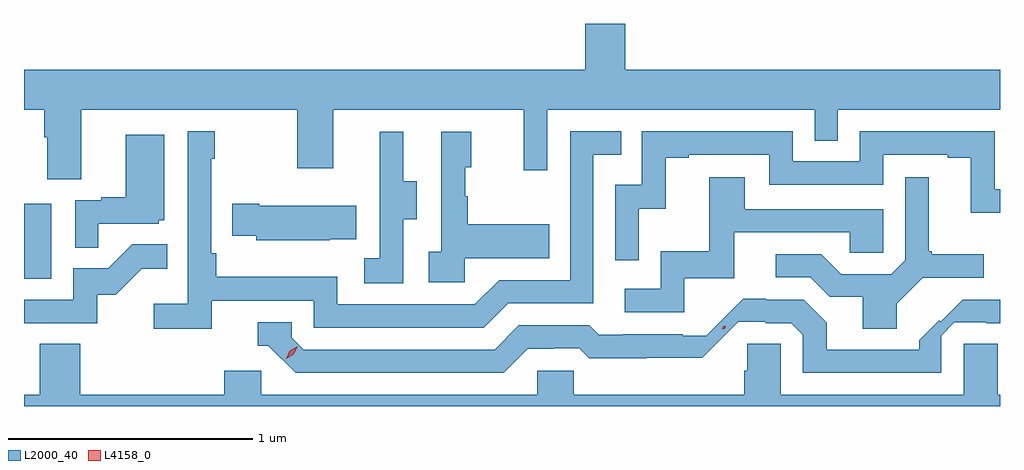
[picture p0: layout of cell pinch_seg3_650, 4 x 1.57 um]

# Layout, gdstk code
import gdstk
lib = gdstk.Library(unit=1e-6, precision=1e-09)
def R(c, l, rs):  # rectangles x0, y0, x1, y1
    for r in rs: c.add(gdstk.rectangle(r[:2], r[2:], *l))
def P(c, l, *ps):  # polygons
    for p in ps: c.add(gdstk.Polygon(p, *l))
L2000_40 = (2000, 40)
L4158_0 = (4158, 0)

pinch_seg3_650 = lib.new_cell('pinch_seg3_650')
R(pinch_seg3_650, L2000_40, [(1037.832,666.924,1037.944,667.231)])
P(pinch_seg3_650, L2000_40, [(1038.067,667.616),(1038.952,667.616),(1038.952,667.377),(1039.099,667.377),(1039.099,667.616),(1039.88,667.616),(1039.88,667.368),(1039.977,667.368),(1039.977,667.616),(1041.072,667.616),(1041.072,667.489),(1041.168,667.489),(1041.168,667.616),(1041.832,667.616),(1041.832,667.78),(1040.296,667.78),(1040.296,667.969),(1040.132,667.969),(1040.132,667.78),(1037.832,667.78),(1037.832,667.616),(1037.915,667.616),(1037.915,667.504),(1037.927,667.504),(1037.927,667.33),(1038.067,667.33)],
  [(1038.602,666.834),(1039.02,666.834),(1039.02,666.723),(1039.717,666.723),(1039.816,666.822),(1040.166,666.822),(1040.166,667.431),(1040.279,667.431),(1040.279,667.527),(1040.07,667.527),(1040.07,666.918),(1039.779,666.918),(1039.68,666.819),(1039.116,666.819),(1039.116,666.931),(1038.62,666.931),(1038.62,667.027),(1038.6,667.027),(1038.6,667.415),(1038.613,667.415),(1038.613,667.528),(1038.504,667.528),(1038.504,666.82),(1038.363,666.82),(1038.363,666.718),(1038.602,666.718)],
  [(1040.352,667.211),(1040.462,667.211),(1040.462,667.419),(1040.557,667.419),(1040.557,667.431),(1040.886,667.431),(1040.886,667.308),(1041.354,667.308),(1041.354,667.431),(1041.617,667.431),(1041.617,667.419),(1041.713,667.419),(1041.713,667.193),(1041.832,667.193),(1041.832,667.291),(1041.81,667.291),(1041.81,667.527),(1041.258,667.527),(1041.258,667.404),(1040.982,667.404),(1040.982,667.527),(1040.364,667.527),(1040.364,667.308),(1040.256,667.308),(1040.256,666.999),(1040.352,666.999)],
  [(1039.638,667.007),(1039.985,667.007),(1039.985,667.147),(1039.651,667.147),(1039.651,667.262),(1039.641,667.262),(1039.641,667.38),(1039.666,667.38),(1039.666,667.525),(1039.542,667.525),(1039.542,667.034),(1039.491,667.034),(1039.491,666.909),(1039.638,666.909)],
  [(1039.386,667.168),(1039.441,667.168),(1039.441,667.323),(1039.387,667.323),(1039.387,667.525),(1039.289,667.525),(1039.289,667.311),(1039.29,667.311),(1039.29,667.007),(1039.227,667.007),(1039.227,666.904),(1039.386,666.904)],
  [(1038.137,667.149),(1038.384,667.149),(1038.384,667.164),(1038.406,667.164),(1038.406,667.513),(1038.248,667.513),(1038.248,667.258),(1038.149,667.258),(1038.149,667.245),(1038.042,667.245),(1038.042,667.051),(1038.137,667.051)],
  [(1040.538,666.926),(1040.743,666.926),(1040.743,667.113),(1041.217,667.113),(1041.217,667.029),(1041.354,667.029),(1041.354,667.209),(1040.785,667.209),(1040.785,667.339),(1040.641,667.339),(1040.641,667.036),(1040.442,667.036),(1040.442,666.882),(1040.295,666.882),(1040.295,666.786),(1040.538,666.786)],
  [(1041.409,666.82),(1041.516,666.927),(1041.766,666.927),(1041.766,667.024),(1041.553,667.024),(1041.553,667.036),(1041.541,667.036),(1041.541,667.339),(1041.444,667.339),(1041.444,666.999),(1041.387,666.942),(1041.181,666.942),(1041.1,667.023),(1040.913,667.023),(1040.913,666.93),(1041.054,666.93),(1041.134,666.85),(1041.269,666.85),(1041.269,666.718),(1041.409,666.718)],
  [(1039.085,667.085),(1039.193,667.085),(1039.193,667.222),(1038.796,667.222),(1038.796,667.23),(1038.685,667.23),(1038.685,667.1),(1038.783,667.1),(1038.783,667.082),(1039.085,667.082)],
  [(1038.132,666.858),(1038.208,666.858),(1038.315,666.965),(1038.419,666.965),(1038.419,667.064),(1038.275,667.064),(1038.177,666.966),(1038.033,666.966),(1038.033,666.837),(1037.832,666.837),(1037.832,666.741),(1038.132,666.741)],
  [(1039.897,666.636),(1040.004,666.636),(1040.004,666.639),(1040.107,666.639),(1040.149,666.597),(1040.382,666.597),(1040.382,666.599),(1040.612,666.599),(1040.76,666.747),(1040.872,666.747),(1040.872,666.741),(1040.976,666.741),(1041.024,666.693),(1041.024,666.537),(1041.591,666.537),(1041.591,666.69),(1041.645,666.744),(1041.776,666.744),(1041.776,666.741),(1041.832,666.741),(1041.832,666.837),(1041.679,666.837),(1041.589,666.747),(1041.582,666.753),(1041.501,666.672),(1041.501,666.633),(1041.121,666.633),(1041.121,666.743),(1041.027,666.837),(1040.873,666.837),(1040.873,666.842),(1040.78,666.842),(1040.628,666.69),(1040.531,666.69),(1040.531,666.696),(1040.287,666.696),(1040.287,666.693),(1040.188,666.693),(1040.149,666.732),(1039.86,666.732),(1039.761,666.633),(1038.978,666.633),(1038.93,666.681),(1038.93,666.744),(1038.791,666.744),(1038.791,666.648),(1038.834,666.648),(1038.945,666.537),(1039.798,666.537)],
  [(1041.832,666.448),(1041.823,666.448),(1041.823,666.656),(1041.683,666.656),(1041.683,666.448),(1040.934,666.448),(1040.934,666.656),(1040.796,666.656),(1040.796,666.546),(1040.783,666.546),(1040.783,666.448),(1040.085,666.448),(1040.085,666.546),(1039.935,666.546),(1039.935,666.448),(1038.804,666.448),(1038.804,666.546),(1038.653,666.546),(1038.653,666.448),(1038.062,666.448),(1038.062,666.656),(1037.897,666.656),(1037.897,666.448),(1037.832,666.448),(1037.832,666.4),(1041.832,666.4)])
P(pinch_seg3_650, L4158_0, [(1038.906,666.595),(1038.906,666.595),(1038.922,666.628),(1038.953,666.647),(1038.953,666.647),(1038.953,666.647),(1038.937,666.614),(1038.907,666.595)],
  [(1040.693,666.717),(1040.697,666.728),(1040.697,666.728),(1040.697,666.728),(1040.708,666.73),(1040.704,666.719),(1040.704,666.719),(1040.704,666.719)])

lib.write_gds('pinch_seg3_650.gds')
